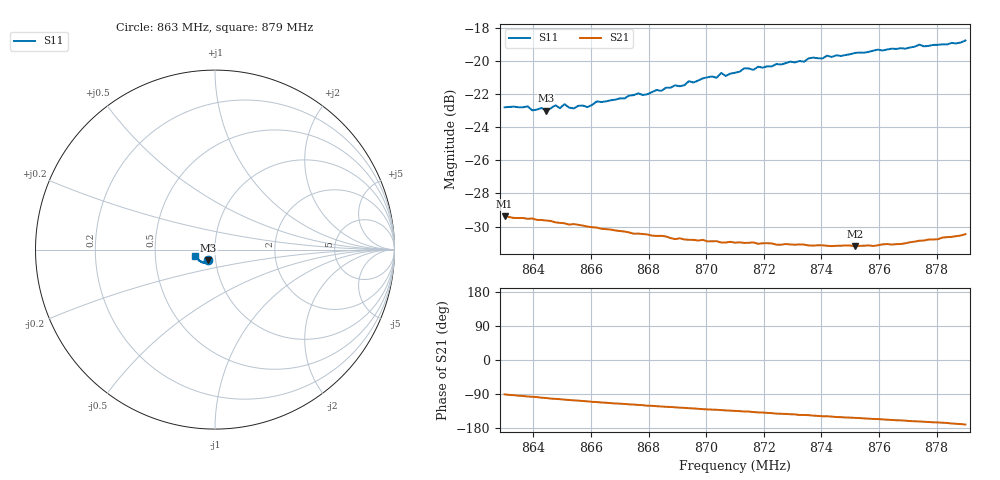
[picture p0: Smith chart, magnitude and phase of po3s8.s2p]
# HZ S RI R 50
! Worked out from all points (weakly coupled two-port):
!   101 points, 863 MHz to 879 MHz, reference 50 ohm
!   highest |S21| = -29.39 dB at 863 MHz (marker M1); lowest = -31.2 dB at 875.16 MHz (marker M2)
!   lowest |S11| = -23.0 dB at 864.44 MHz (marker M3), VSWR 1.15, Z = 46 - j5.53 ohm
!   |S11| at or under -10 dB: start of sweep to end of sweep
!   S12 and S22 are empty: the file has one direction only
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8.63e8  -0.0415 -0.0594  -0.000388 -0.0339  0 0  0 0
8.638e8  -0.0401 -0.0609  -0.00362 -0.0332  0 0  0 0
8.6396e8  -0.0381 -0.0598  -0.00416 -0.0332  0 0  0 0
8.6444e8  -0.038 -0.0598  -0.00592 -0.0324  0 0  0 0
8.6476e8  -0.0384 -0.0627  -0.00707 -0.0318  0 0  0 0
8.6492e8  -0.0377 -0.0614  -0.00751 -0.0316  0 0  0 0
8.6508e8  -0.0414 -0.0614  -0.00812 -0.0313  0 0  0 0
8.654e8  -0.0361 -0.0622  -0.00915 -0.0308  0 0  0 0
8.6572e8  -0.0358 -0.064  -0.00996 -0.0302  0 0  0 0
8.6844e8  -0.0412 -0.07  -0.016 -0.0249  0 0  0 0
8.6924e8  -0.0441 -0.072  -0.0171 -0.0233  0 0  0 0
8.694e8  -0.0474 -0.0728  -0.0174 -0.023  0 0  0 0
8.7036e8  -0.0509 -0.073  -0.0189 -0.0215  0 0  0 0
8.7052e8  -0.0535 -0.0749  -0.019 -0.021  0 0  0 0
8.7068e8  -0.053 -0.0729  -0.0193 -0.0207  0 0  0 0
8.71e8  -0.0554 -0.0736  -0.0197 -0.0202  0 0  0 0
8.7132e8  -0.0589 -0.0745  -0.0203 -0.0197  0 0  0 0
8.7164e8  -0.0587 -0.0734  -0.0208 -0.0192  0 0  0 0
8.7372e8  -0.074 -0.0707  -0.0232 -0.0152  0 0  0 0
8.7516e8  -0.084 -0.0643  -0.0245 -0.0127  0 0  0 0
8.7644e8  -0.0934 -0.0561  -0.0259 -0.0104  0 0  0 0
8.79e8  -0.1096 -0.0359  -0.0295 -0.00509  0 0  0 0
